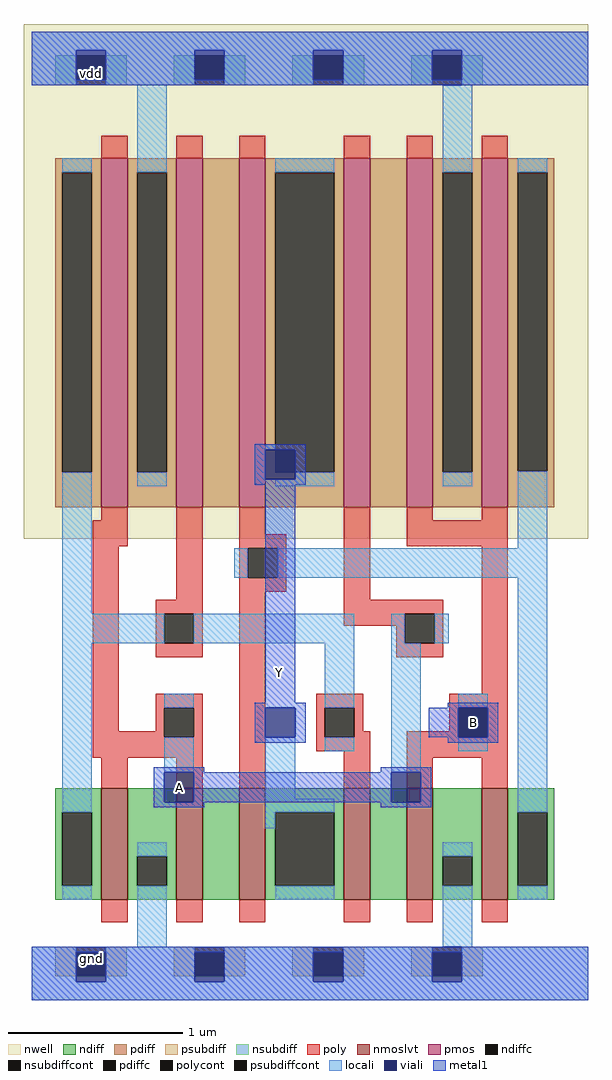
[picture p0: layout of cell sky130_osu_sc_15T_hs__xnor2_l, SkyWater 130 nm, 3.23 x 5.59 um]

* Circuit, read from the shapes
.subckt sky130_osu_sc_15T_hs__xnor2_l A B Y
XM1 gnd A n1 gnd sky130_fd_pr__nfet_01v8_lvt w=0.64 l=0.15
XM2 n2 A gnd gnd sky130_fd_pr__nfet_01v8_lvt w=0.64 l=0.15
XM3 Y n3 n2 gnd sky130_fd_pr__nfet_01v8_lvt w=0.64 l=0.15
XM4 n4 n1 Y gnd sky130_fd_pr__nfet_01v8_lvt w=0.64 l=0.15
XM5 gnd B n4 gnd sky130_fd_pr__nfet_01v8_lvt w=0.64 l=0.15
XM6 n3 B gnd gnd sky130_fd_pr__nfet_01v8_lvt w=0.64 l=0.15
XM7 vdd A n1 vdd sky130_fd_pr__pfet_01v8 w=2 l=0.15
XM8 n5 n1 vdd vdd sky130_fd_pr__pfet_01v8 w=2 l=0.15
XM9 Y n3 n5 vdd sky130_fd_pr__pfet_01v8 w=2 l=0.15
XM10 n6 A Y vdd sky130_fd_pr__pfet_01v8 w=2 l=0.15
XM11 vdd B n6 vdd sky130_fd_pr__pfet_01v8 w=2 l=0.15
XM12 n3 B vdd vdd sky130_fd_pr__pfet_01v8 w=2 l=0.15
.ends

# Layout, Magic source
magic
tech sky130A
magscale 1 2
<< nwell >>
rect -9 529 638 1119
<< nmoslvt >>
rect 80 115 110 243
rect 166 115 196 243
rect 238 115 268 243
rect 358 115 388 243
rect 430 115 460 243
rect 516 115 546 243
<< pmos >>
rect 80 565 110 965
rect 166 565 196 965
rect 238 565 268 965
rect 358 565 388 965
rect 430 565 460 965
rect 516 565 546 965
<< ndiff >>
rect 27 215 80 243
rect 27 131 35 215
rect 69 131 80 215
rect 27 115 80 131
rect 110 165 166 243
rect 110 131 121 165
rect 155 131 166 165
rect 110 115 166 131
rect 196 115 238 243
rect 268 215 358 243
rect 268 131 279 215
rect 347 131 358 215
rect 268 115 358 131
rect 388 115 430 243
rect 460 165 516 243
rect 460 131 471 165
rect 505 131 516 165
rect 460 115 516 131
rect 546 215 599 243
rect 546 131 557 215
rect 591 131 599 215
rect 546 115 599 131
<< pdiff >>
rect 27 949 80 965
rect 27 605 35 949
rect 69 605 80 949
rect 27 565 80 605
rect 110 949 166 965
rect 110 605 121 949
rect 155 605 166 949
rect 110 565 166 605
rect 196 565 238 965
rect 268 949 358 965
rect 268 605 279 949
rect 347 605 358 949
rect 268 565 358 605
rect 388 565 430 965
rect 460 949 516 965
rect 460 605 471 949
rect 505 605 516 949
rect 460 565 516 605
rect 546 949 599 965
rect 546 606 557 949
rect 591 606 599 949
rect 546 565 599 606
<< ndiffc >>
rect 35 131 69 215
rect 121 131 155 165
rect 279 131 347 215
rect 471 131 505 165
rect 557 131 591 215
<< pdiffc >>
rect 35 605 69 949
rect 121 605 155 949
rect 279 605 347 949
rect 471 605 505 949
rect 557 606 591 949
<< psubdiff >>
rect 27 27 51 61
rect 85 27 109 61
rect 163 27 187 61
rect 221 27 245 61
rect 299 27 323 61
rect 357 27 381 61
rect 435 27 459 61
rect 493 27 517 61
<< nsubdiff >>
rect 27 1049 51 1083
rect 85 1049 109 1083
rect 163 1049 187 1083
rect 221 1049 245 1083
rect 299 1049 323 1083
rect 357 1049 381 1083
rect 435 1049 459 1083
rect 493 1049 517 1083
<< psubdiffcont >>
rect 51 27 85 61
rect 187 27 221 61
rect 323 27 357 61
rect 459 27 493 61
<< nsubdiffcont >>
rect 51 1049 85 1083
rect 187 1049 221 1083
rect 323 1049 357 1083
rect 459 1049 493 1083
<< poly >>
rect 80 965 110 991
rect 166 965 196 991
rect 238 965 268 991
rect 358 965 388 991
rect 430 965 460 991
rect 516 965 546 991
rect 80 550 110 565
rect 70 520 110 550
rect 70 308 100 520
rect 166 459 196 565
rect 142 443 196 459
rect 142 409 152 443
rect 186 409 196 443
rect 142 393 196 409
rect 238 534 268 565
rect 238 518 292 534
rect 238 484 248 518
rect 282 484 292 518
rect 238 468 292 484
rect 142 335 196 351
rect 142 308 152 335
rect 70 301 152 308
rect 186 301 196 335
rect 70 278 196 301
rect 80 243 110 278
rect 166 243 196 278
rect 238 243 268 468
rect 358 459 388 565
rect 430 550 460 565
rect 516 550 546 565
rect 430 520 546 550
rect 358 443 472 459
rect 358 429 428 443
rect 418 409 428 429
rect 462 409 472 443
rect 418 393 472 409
rect 516 351 546 520
rect 326 335 380 351
rect 326 301 336 335
rect 370 308 380 335
rect 479 335 546 351
rect 479 308 489 335
rect 370 301 388 308
rect 326 285 388 301
rect 358 243 388 285
rect 430 301 489 308
rect 523 301 546 335
rect 430 278 546 301
rect 430 243 460 278
rect 516 243 546 278
rect 80 89 110 115
rect 166 89 196 115
rect 238 89 268 115
rect 358 89 388 115
rect 430 89 460 115
rect 516 89 546 115
<< polycont >>
rect 152 409 186 443
rect 248 484 282 518
rect 152 301 186 335
rect 428 409 462 443
rect 336 301 370 335
rect 489 301 523 335
<< locali >>
rect 0 1089 638 1110
rect 0 1049 51 1089
rect 85 1049 187 1089
rect 221 1049 323 1089
rect 357 1049 459 1089
rect 493 1049 638 1089
rect 35 949 69 965
rect 35 443 69 605
rect 121 949 155 1049
rect 279 949 347 965
rect 121 589 155 605
rect 268 631 279 637
rect 302 597 347 605
rect 279 589 347 597
rect 471 949 505 1049
rect 471 589 505 605
rect 557 949 591 965
rect 557 518 591 606
rect 232 484 248 518
rect 282 484 591 518
rect 35 409 152 443
rect 186 409 370 443
rect 35 215 69 409
rect 152 335 186 351
rect 336 335 370 409
rect 152 261 186 301
rect 268 231 302 301
rect 336 285 370 301
rect 412 409 428 443
rect 462 409 478 443
rect 412 261 446 409
rect 489 335 523 351
rect 489 285 523 301
rect 268 215 347 231
rect 268 197 279 215
rect 35 115 69 131
rect 121 165 155 181
rect 121 61 155 131
rect 557 215 591 484
rect 279 115 347 131
rect 471 165 505 181
rect 471 61 505 131
rect 557 115 591 131
rect 0 21 51 61
rect 85 21 187 61
rect 221 21 323 61
rect 357 21 459 61
rect 493 21 638 61
rect 0 0 638 21
<< viali >>
rect 51 1083 85 1089
rect 51 1055 85 1083
rect 187 1083 221 1089
rect 187 1055 221 1083
rect 323 1083 357 1089
rect 323 1055 357 1083
rect 459 1083 493 1089
rect 459 1055 493 1083
rect 268 605 279 631
rect 279 605 302 631
rect 268 597 302 605
rect 152 227 186 261
rect 268 301 302 335
rect 489 301 523 335
rect 412 227 446 261
rect 51 27 85 55
rect 51 21 85 27
rect 187 27 221 55
rect 187 21 221 27
rect 323 27 357 55
rect 323 21 357 27
rect 459 27 493 55
rect 459 21 493 27
<< metal1 >>
rect 0 1089 638 1110
rect 0 1055 51 1089
rect 85 1055 187 1089
rect 221 1055 323 1089
rect 357 1055 459 1089
rect 493 1055 638 1089
rect 0 1049 638 1055
rect 256 631 314 637
rect 256 597 268 631
rect 302 597 314 631
rect 256 591 314 597
rect 268 341 302 591
rect 256 335 314 341
rect 477 335 535 341
rect 256 301 268 335
rect 302 301 314 335
rect 455 301 489 335
rect 523 301 535 335
rect 256 295 314 301
rect 477 295 535 301
rect 140 261 198 267
rect 400 261 458 267
rect 140 227 152 261
rect 186 227 412 261
rect 446 227 458 261
rect 140 221 198 227
rect 400 221 458 227
rect 0 55 638 61
rect 0 21 51 55
rect 85 21 187 55
rect 221 21 323 55
rect 357 21 459 55
rect 493 21 638 55
rect 0 0 638 21
<< labels >>
rlabel viali 506 318 506 318 1 B
port 2 n
rlabel metal1 284 375 284 375 1 Y
port 3 n
rlabel viali 68 48 68 48 1 gnd
rlabel viali 68 1062 68 1062 1 vdd
rlabel viali 170 244 170 244 1 A
port 1 n
<< end >>
